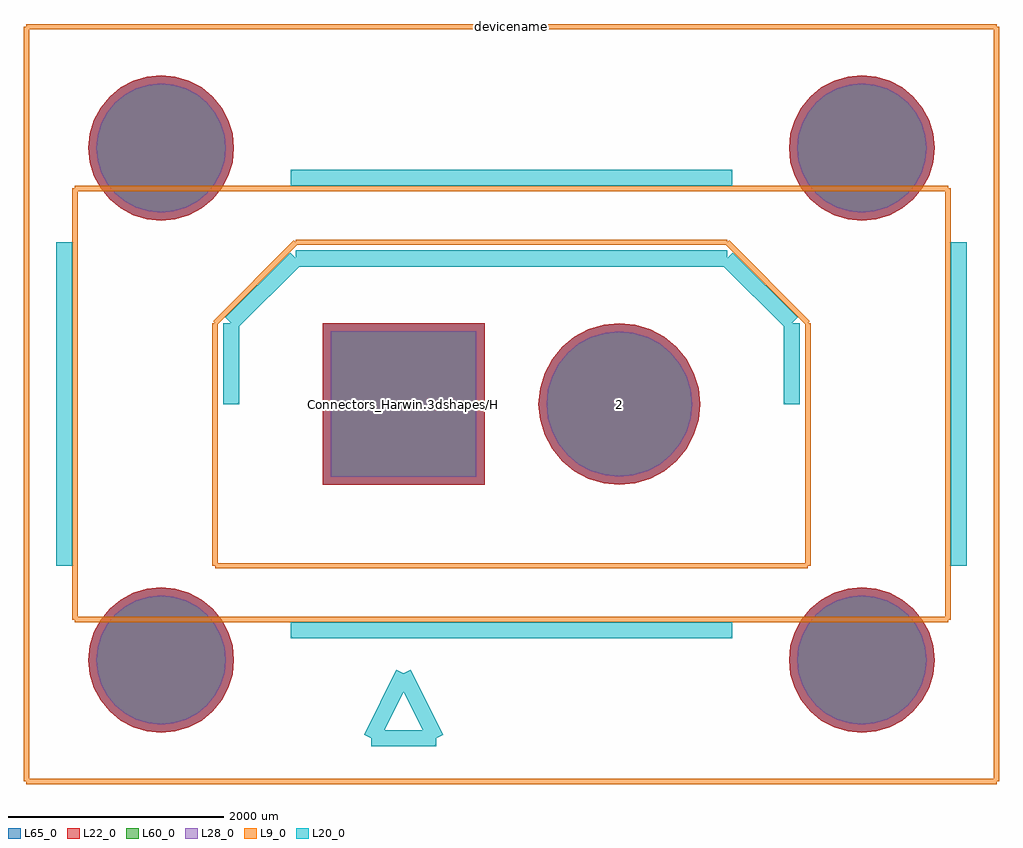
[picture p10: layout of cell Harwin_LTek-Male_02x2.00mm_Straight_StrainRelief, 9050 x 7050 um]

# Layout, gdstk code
import gdstk
lib = gdstk.Library(unit=1e-6, precision=1e-09)
def R(c, l, rs):  # rectangles x0, y0, x1, y1
    for r in rs: c.add(gdstk.rectangle(r[:2], r[2:], *l))
def P(c, l, *ps):  # polygons
    for p in ps: c.add(gdstk.Polygon(p, *l))
L9_0 = (9, 0)
L20_0 = (20, 0)
L22_0 = (22, 0)
L28_0 = (28, 0)
L60_0 = (60, 0)
L65_0 = (65, 0)

harwin_ltek_male_02x2_00 = lib.new_cell('Harwin_LTek-Male_02x2.00mm_Straight_StrainRelief')
R(harwin_ltek_male_02x2_00, L22_0, [(-750,-750,750,750)])
P(harwin_ltek_male_02x2_00, L22_0, [(4925,-2375),(4912.03,-2243.314),(4873.619,-2116.689),(4811.242,-1999.99),(4727.297,-1897.703),(4625.01,-1813.758),(4508.311,-1751.381),(4381.686,-1712.97),(4250,-1700),(4118.314,-1712.97),(3991.689,-1751.381),(3874.99,-1813.758),(3772.703,-1897.703),(3688.758,-1999.99),(3626.381,-2116.689),(3587.97,-2243.314),(3575,-2375),(3587.97,-2506.686),(3626.381,-2633.311),(3688.758,-2750.01),(3772.703,-2852.297),(3874.99,-2936.242),(3991.689,-2998.619),(4118.314,-3037.03),(4250,-3050),(4381.686,-3037.03),(4508.311,-2998.619),(4625.01,-2936.242),(4727.297,-2852.297),(4811.242,-2750.01),(4873.619,-2633.311),(4912.03,-2506.686)],
  [(4925,2375),(4912.03,2506.686),(4873.619,2633.311),(4811.242,2750.01),(4727.297,2852.297),(4625.01,2936.242),(4508.311,2998.619),(4381.686,3037.03),(4250,3050),(4118.314,3037.03),(3991.689,2998.619),(3874.99,2936.242),(3772.703,2852.297),(3688.758,2750.01),(3626.381,2633.311),(3587.97,2506.686),(3575,2375),(3587.97,2243.314),(3626.381,2116.689),(3688.758,1999.99),(3772.703,1897.703),(3874.99,1813.758),(3991.689,1751.381),(4118.314,1712.97),(4250,1700),(4381.686,1712.97),(4508.311,1751.381),(4625.01,1813.758),(4727.297,1897.703),(4811.242,1999.99),(4873.619,2116.689),(4912.03,2243.314)],
  [(-1575,-2375),(-1587.97,-2243.314),(-1626.381,-2116.689),(-1688.758,-1999.99),(-1772.703,-1897.703),(-1874.99,-1813.758),(-1991.689,-1751.381),(-2118.314,-1712.97),(-2250,-1700),(-2381.686,-1712.97),(-2508.311,-1751.381),(-2625.01,-1813.758),(-2727.297,-1897.703),(-2811.242,-1999.99),(-2873.619,-2116.689),(-2912.03,-2243.314),(-2925,-2375),(-2912.03,-2506.686),(-2873.619,-2633.311),(-2811.242,-2750.01),(-2727.297,-2852.297),(-2625.01,-2936.242),(-2508.311,-2998.619),(-2381.686,-3037.03),(-2250,-3050),(-2118.314,-3037.03),(-1991.689,-2998.619),(-1874.99,-2936.242),(-1772.703,-2852.297),(-1688.758,-2750.01),(-1626.381,-2633.311),(-1587.97,-2506.686)],
  [(-1575,2375),(-1587.97,2506.686),(-1626.381,2633.311),(-1688.758,2750.01),(-1772.703,2852.297),(-1874.99,2936.242),(-1991.689,2998.619),(-2118.314,3037.03),(-2250,3050),(-2381.686,3037.03),(-2508.311,2998.619),(-2625.01,2936.242),(-2727.297,2852.297),(-2811.242,2750.01),(-2873.619,2633.311),(-2912.03,2506.686),(-2925,2375),(-2912.03,2243.314),(-2873.619,2116.689),(-2811.242,1999.99),(-2727.297,1897.703),(-2625.01,1813.758),(-2508.311,1751.381),(-2381.686,1712.97),(-2250,1700),(-2118.314,1712.97),(-1991.689,1751.381),(-1874.99,1813.758),(-1772.703,1897.703),(-1688.758,1999.99),(-1626.381,2116.689),(-1587.97,2243.314)],
  [(2750,0),(2735.589,146.318),(2692.91,287.013),(2623.602,416.678),(2530.33,530.33),(2416.678,623.602),(2287.013,692.91),(2146.318,735.589),(2000,750),(1853.682,735.589),(1712.987,692.91),(1583.322,623.602),(1469.67,530.33),(1376.398,416.678),(1307.09,287.013),(1264.411,146.318),(1250,0),(1264.411,-146.318),(1307.09,-287.013),(1376.398,-416.678),(1469.67,-530.33),(1583.322,-623.602),(1712.987,-692.91),(1853.682,-735.589),(2000,-750),(2146.318,-735.589),(2287.013,-692.91),(2416.678,-623.602),(2530.33,-530.33),(2623.602,-416.678),(2692.91,-287.013),(2735.589,-146.318)])
R(harwin_ltek_male_02x2_00, L28_0, [(-675,-675,675,675)])
P(harwin_ltek_male_02x2_00, L28_0, [(4850,-2375),(4838.471,-2257.946),(4804.328,-2145.39),(4748.882,-2041.658),(4674.264,-1950.736),(4583.342,-1876.118),(4479.61,-1820.672),(4367.054,-1786.529),(4250,-1775),(4132.946,-1786.529),(4020.39,-1820.672),(3916.658,-1876.118),(3825.736,-1950.736),(3751.118,-2041.658),(3695.672,-2145.39),(3661.529,-2257.946),(3650,-2375),(3661.529,-2492.054),(3695.672,-2604.61),(3751.118,-2708.342),(3825.736,-2799.264),(3916.658,-2873.882),(4020.39,-2929.328),(4132.946,-2963.471),(4250,-2975),(4367.054,-2963.471),(4479.61,-2929.328),(4583.342,-2873.882),(4674.264,-2799.264),(4748.882,-2708.342),(4804.328,-2604.61),(4838.471,-2492.054)],
  [(4850,2375),(4838.471,2492.054),(4804.328,2604.61),(4748.882,2708.342),(4674.264,2799.264),(4583.342,2873.882),(4479.61,2929.328),(4367.054,2963.471),(4250,2975),(4132.946,2963.471),(4020.39,2929.328),(3916.658,2873.882),(3825.736,2799.264),(3751.118,2708.342),(3695.672,2604.61),(3661.529,2492.054),(3650,2375),(3661.529,2257.946),(3695.672,2145.39),(3751.118,2041.658),(3825.736,1950.736),(3916.658,1876.118),(4020.39,1820.672),(4132.946,1786.529),(4250,1775),(4367.054,1786.529),(4479.61,1820.672),(4583.342,1876.118),(4674.264,1950.736),(4748.882,2041.658),(4804.328,2145.39),(4838.471,2257.946)],
  [(-1650,-2375),(-1661.529,-2257.946),(-1695.672,-2145.39),(-1751.118,-2041.658),(-1825.736,-1950.736),(-1916.658,-1876.118),(-2020.39,-1820.672),(-2132.946,-1786.529),(-2250,-1775),(-2367.054,-1786.529),(-2479.61,-1820.672),(-2583.342,-1876.118),(-2674.264,-1950.736),(-2748.882,-2041.658),(-2804.328,-2145.39),(-2838.471,-2257.946),(-2850,-2375),(-2838.471,-2492.054),(-2804.328,-2604.61),(-2748.882,-2708.342),(-2674.264,-2799.264),(-2583.342,-2873.882),(-2479.61,-2929.328),(-2367.054,-2963.471),(-2250,-2975),(-2132.946,-2963.471),(-2020.39,-2929.328),(-1916.658,-2873.882),(-1825.736,-2799.264),(-1751.118,-2708.342),(-1695.672,-2604.61),(-1661.529,-2492.054)],
  [(-1650,2375),(-1661.529,2492.054),(-1695.672,2604.61),(-1751.118,2708.342),(-1825.736,2799.264),(-1916.658,2873.882),(-2020.39,2929.328),(-2132.946,2963.471),(-2250,2975),(-2367.054,2963.471),(-2479.61,2929.328),(-2583.342,2873.882),(-2674.264,2799.264),(-2748.882,2708.342),(-2804.328,2604.61),(-2838.471,2492.054),(-2850,2375),(-2838.471,2257.946),(-2804.328,2145.39),(-2748.882,2041.658),(-2674.264,1950.736),(-2583.342,1876.118),(-2479.61,1820.672),(-2367.054,1786.529),(-2250,1775),(-2132.946,1786.529),(-2020.39,1820.672),(-1916.658,1876.118),(-1825.736,1950.736),(-1751.118,2041.658),(-1695.672,2145.39),(-1661.529,2257.946)],
  [(2675,0),(2662.03,131.686),(2623.619,258.311),(2561.242,375.01),(2477.297,477.297),(2375.01,561.242),(2258.311,623.619),(2131.686,662.03),(2000,675),(1868.314,662.03),(1741.689,623.619),(1624.99,561.242),(1522.703,477.297),(1438.758,375.01),(1376.381,258.311),(1337.97,131.686),(1325,0),(1337.97,-131.686),(1376.381,-258.311),(1438.758,-375.01),(1522.703,-477.297),(1624.99,-561.242),(1741.689,-623.619),(1868.314,-662.03),(2000,-675),(2131.686,-662.03),(2258.311,-623.619),(2375.01,-561.242),(2477.297,-477.297),(2561.242,-375.01),(2623.619,-258.311),(2662.03,-131.686)])
R(harwin_ltek_male_02x2_00, L60_0, [(-675,-675,675,675)])
P(harwin_ltek_male_02x2_00, L60_0, [(4850,-2375),(4838.471,-2257.946),(4804.328,-2145.39),(4748.882,-2041.658),(4674.264,-1950.736),(4583.342,-1876.118),(4479.61,-1820.672),(4367.054,-1786.529),(4250,-1775),(4132.946,-1786.529),(4020.39,-1820.672),(3916.658,-1876.118),(3825.736,-1950.736),(3751.118,-2041.658),(3695.672,-2145.39),(3661.529,-2257.946),(3650,-2375),(3661.529,-2492.054),(3695.672,-2604.61),(3751.118,-2708.342),(3825.736,-2799.264),(3916.658,-2873.882),(4020.39,-2929.328),(4132.946,-2963.471),(4250,-2975),(4367.054,-2963.471),(4479.61,-2929.328),(4583.342,-2873.882),(4674.264,-2799.264),(4748.882,-2708.342),(4804.328,-2604.61),(4838.471,-2492.054)],
  [(4850,2375),(4838.471,2492.054),(4804.328,2604.61),(4748.882,2708.342),(4674.264,2799.264),(4583.342,2873.882),(4479.61,2929.328),(4367.054,2963.471),(4250,2975),(4132.946,2963.471),(4020.39,2929.328),(3916.658,2873.882),(3825.736,2799.264),(3751.118,2708.342),(3695.672,2604.61),(3661.529,2492.054),(3650,2375),(3661.529,2257.946),(3695.672,2145.39),(3751.118,2041.658),(3825.736,1950.736),(3916.658,1876.118),(4020.39,1820.672),(4132.946,1786.529),(4250,1775),(4367.054,1786.529),(4479.61,1820.672),(4583.342,1876.118),(4674.264,1950.736),(4748.882,2041.658),(4804.328,2145.39),(4838.471,2257.946)],
  [(-1650,-2375),(-1661.529,-2257.946),(-1695.672,-2145.39),(-1751.118,-2041.658),(-1825.736,-1950.736),(-1916.658,-1876.118),(-2020.39,-1820.672),(-2132.946,-1786.529),(-2250,-1775),(-2367.054,-1786.529),(-2479.61,-1820.672),(-2583.342,-1876.118),(-2674.264,-1950.736),(-2748.882,-2041.658),(-2804.328,-2145.39),(-2838.471,-2257.946),(-2850,-2375),(-2838.471,-2492.054),(-2804.328,-2604.61),(-2748.882,-2708.342),(-2674.264,-2799.264),(-2583.342,-2873.882),(-2479.61,-2929.328),(-2367.054,-2963.471),(-2250,-2975),(-2132.946,-2963.471),(-2020.39,-2929.328),(-1916.658,-2873.882),(-1825.736,-2799.264),(-1751.118,-2708.342),(-1695.672,-2604.61),(-1661.529,-2492.054)],
  [(-1650,2375),(-1661.529,2492.054),(-1695.672,2604.61),(-1751.118,2708.342),(-1825.736,2799.264),(-1916.658,2873.882),(-2020.39,2929.328),(-2132.946,2963.471),(-2250,2975),(-2367.054,2963.471),(-2479.61,2929.328),(-2583.342,2873.882),(-2674.264,2799.264),(-2748.882,2708.342),(-2804.328,2604.61),(-2838.471,2492.054),(-2850,2375),(-2838.471,2257.946),(-2804.328,2145.39),(-2748.882,2041.658),(-2674.264,1950.736),(-2583.342,1876.118),(-2479.61,1820.672),(-2367.054,1786.529),(-2250,1775),(-2132.946,1786.529),(-2020.39,1820.672),(-1916.658,1876.118),(-1825.736,1950.736),(-1751.118,2041.658),(-1695.672,2145.39),(-1661.529,2257.946)],
  [(2675,0),(2662.03,131.686),(2623.619,258.311),(2561.242,375.01),(2477.297,477.297),(2375.01,561.242),(2258.311,623.619),(2131.686,662.03),(2000,675),(1868.314,662.03),(1741.689,623.619),(1624.99,561.242),(1522.703,477.297),(1438.758,375.01),(1376.381,258.311),(1337.97,131.686),(1325,0),(1337.97,-131.686),(1376.381,-258.311),(1438.758,-375.01),(1522.703,-477.297),(1624.99,-561.242),(1741.689,-623.619),(1868.314,-662.03),(2000,-675),(2131.686,-662.03),(2258.311,-623.619),(2375.01,-561.242),(2477.297,-477.297),(2561.242,-375.01),(2623.619,-258.311),(2662.03,-131.686)])
R(harwin_ltek_male_02x2_00, L65_0, [(-750,-750,750,750)])
P(harwin_ltek_male_02x2_00, L65_0, [(4925,-2375),(4912.03,-2243.314),(4873.619,-2116.689),(4811.242,-1999.99),(4727.297,-1897.703),(4625.01,-1813.758),(4508.311,-1751.381),(4381.686,-1712.97),(4250,-1700),(4118.314,-1712.97),(3991.689,-1751.381),(3874.99,-1813.758),(3772.703,-1897.703),(3688.758,-1999.99),(3626.381,-2116.689),(3587.97,-2243.314),(3575,-2375),(3587.97,-2506.686),(3626.381,-2633.311),(3688.758,-2750.01),(3772.703,-2852.297),(3874.99,-2936.242),(3991.689,-2998.619),(4118.314,-3037.03),(4250,-3050),(4381.686,-3037.03),(4508.311,-2998.619),(4625.01,-2936.242),(4727.297,-2852.297),(4811.242,-2750.01),(4873.619,-2633.311),(4912.03,-2506.686)],
  [(4925,2375),(4912.03,2506.686),(4873.619,2633.311),(4811.242,2750.01),(4727.297,2852.297),(4625.01,2936.242),(4508.311,2998.619),(4381.686,3037.03),(4250,3050),(4118.314,3037.03),(3991.689,2998.619),(3874.99,2936.242),(3772.703,2852.297),(3688.758,2750.01),(3626.381,2633.311),(3587.97,2506.686),(3575,2375),(3587.97,2243.314),(3626.381,2116.689),(3688.758,1999.99),(3772.703,1897.703),(3874.99,1813.758),(3991.689,1751.381),(4118.314,1712.97),(4250,1700),(4381.686,1712.97),(4508.311,1751.381),(4625.01,1813.758),(4727.297,1897.703),(4811.242,1999.99),(4873.619,2116.689),(4912.03,2243.314)],
  [(-1575,-2375),(-1587.97,-2243.314),(-1626.381,-2116.689),(-1688.758,-1999.99),(-1772.703,-1897.703),(-1874.99,-1813.758),(-1991.689,-1751.381),(-2118.314,-1712.97),(-2250,-1700),(-2381.686,-1712.97),(-2508.311,-1751.381),(-2625.01,-1813.758),(-2727.297,-1897.703),(-2811.242,-1999.99),(-2873.619,-2116.689),(-2912.03,-2243.314),(-2925,-2375),(-2912.03,-2506.686),(-2873.619,-2633.311),(-2811.242,-2750.01),(-2727.297,-2852.297),(-2625.01,-2936.242),(-2508.311,-2998.619),(-2381.686,-3037.03),(-2250,-3050),(-2118.314,-3037.03),(-1991.689,-2998.619),(-1874.99,-2936.242),(-1772.703,-2852.297),(-1688.758,-2750.01),(-1626.381,-2633.311),(-1587.97,-2506.686)],
  [(-1575,2375),(-1587.97,2506.686),(-1626.381,2633.311),(-1688.758,2750.01),(-1772.703,2852.297),(-1874.99,2936.242),(-1991.689,2998.619),(-2118.314,3037.03),(-2250,3050),(-2381.686,3037.03),(-2508.311,2998.619),(-2625.01,2936.242),(-2727.297,2852.297),(-2811.242,2750.01),(-2873.619,2633.311),(-2912.03,2506.686),(-2925,2375),(-2912.03,2243.314),(-2873.619,2116.689),(-2811.242,1999.99),(-2727.297,1897.703),(-2625.01,1813.758),(-2508.311,1751.381),(-2381.686,1712.97),(-2250,1700),(-2118.314,1712.97),(-1991.689,1751.381),(-1874.99,1813.758),(-1772.703,1897.703),(-1688.758,1999.99),(-1626.381,2116.689),(-1587.97,2243.314)],
  [(2750,0),(2735.589,146.318),(2692.91,287.013),(2623.602,416.678),(2530.33,530.33),(2416.678,623.602),(2287.013,692.91),(2146.318,735.589),(2000,750),(1853.682,735.589),(1712.987,692.91),(1583.322,623.602),(1469.67,530.33),(1376.398,416.678),(1307.09,287.013),(1264.411,146.318),(1250,0),(1264.411,-146.318),(1307.09,-287.013),(1376.398,-416.678),(1469.67,-530.33),(1583.322,-623.602),(1712.987,-692.91),(1853.682,-735.589),(2000,-750),(2146.318,-735.589),(2287.013,-692.91),(2416.678,-623.602),(2530.33,-530.33),(2623.602,-416.678),(2692.91,-287.013),(2735.589,-146.318)])
harwin_ltek_male_02x2_00.add(gdstk.FlexPath([(300,-3100),(0,-2500)], 149.998, ends="flush", simple_path=True, layer=20, datatype=0))  # L20_0
harwin_ltek_male_02x2_00.add(gdstk.FlexPath([(-300,-3100),(300,-3100)], 149.998, ends="flush", simple_path=True, layer=20, datatype=0))  # L20_0
harwin_ltek_male_02x2_00.add(gdstk.FlexPath([(0,-2500),(-300,-3100)], 149.998, ends="flush", simple_path=True, layer=20, datatype=0))  # L20_0
harwin_ltek_male_02x2_00.add(gdstk.FlexPath([(3000,1350),(1000,1350)], 149.998, ends="flush", simple_path=True, layer=20, datatype=0))  # L20_0
harwin_ltek_male_02x2_00.add(gdstk.FlexPath([(3600,750),(3000,1350)], 149.998, ends="flush", simple_path=True, layer=20, datatype=0))  # L20_0
harwin_ltek_male_02x2_00.add(gdstk.FlexPath([(3600,0),(3600,750)], 149.998, ends="flush", simple_path=True, layer=20, datatype=0))  # L20_0
harwin_ltek_male_02x2_00.add(gdstk.FlexPath([(-1000,1350),(1000,1350)], 149.998, ends="flush", simple_path=True, layer=20, datatype=0))  # L20_0
harwin_ltek_male_02x2_00.add(gdstk.FlexPath([(-1600,750),(-1000,1350)], 149.998, ends="flush", simple_path=True, layer=20, datatype=0))  # L20_0
harwin_ltek_male_02x2_00.add(gdstk.FlexPath([(-1600,0),(-1600,750)], 149.998, ends="flush", simple_path=True, layer=20, datatype=0))  # L20_0
harwin_ltek_male_02x2_00.add(gdstk.FlexPath([(3750,-1500),(-1750,-1500)], 50, ends="flush", simple_path=True, layer=9, datatype=0))  # L9_0
harwin_ltek_male_02x2_00.add(gdstk.FlexPath([(3750,750),(3750,-1500)], 50, ends="flush", simple_path=True, layer=9, datatype=0))  # L9_0
harwin_ltek_male_02x2_00.add(gdstk.FlexPath([(3000,1500),(3750,750)], 50, ends="flush", simple_path=True, layer=9, datatype=0))  # L9_0
harwin_ltek_male_02x2_00.add(gdstk.FlexPath([(-1000,1500),(3000,1500)], 50, ends="flush", simple_path=True, layer=9, datatype=0))  # L9_0
harwin_ltek_male_02x2_00.add(gdstk.FlexPath([(-1750,750),(-1000,1500)], 50, ends="flush", simple_path=True, layer=9, datatype=0))  # L9_0
harwin_ltek_male_02x2_00.add(gdstk.FlexPath([(-1750,-1500),(-1750,750)], 50, ends="flush", simple_path=True, layer=9, datatype=0))  # L9_0
harwin_ltek_male_02x2_00.add(gdstk.FlexPath([(5050,2000),(-3050,2000)], 50, ends="flush", simple_path=True, layer=9, datatype=0))  # L9_0
harwin_ltek_male_02x2_00.add(gdstk.FlexPath([(5050,-2000),(5050,2000)], 50, ends="flush", simple_path=True, layer=9, datatype=0))  # L9_0
harwin_ltek_male_02x2_00.add(gdstk.FlexPath([(-3050,-2000),(5050,-2000)], 50, ends="flush", simple_path=True, layer=9, datatype=0))  # L9_0
harwin_ltek_male_02x2_00.add(gdstk.FlexPath([(-3050,2000),(-3050,-2000)], 50, ends="flush", simple_path=True, layer=9, datatype=0))  # L9_0
harwin_ltek_male_02x2_00.add(gdstk.FlexPath([(5500,3500),(-3500,3500)], 50, ends="flush", simple_path=True, layer=9, datatype=0))  # L9_0
harwin_ltek_male_02x2_00.add(gdstk.FlexPath([(5500,-3500),(5500,3500)], 50, ends="flush", simple_path=True, layer=9, datatype=0))  # L9_0
harwin_ltek_male_02x2_00.add(gdstk.FlexPath([(-3500,-3500),(5500,-3500)], 50, ends="flush", simple_path=True, layer=9, datatype=0))  # L9_0
harwin_ltek_male_02x2_00.add(gdstk.FlexPath([(-3500,3500),(-3500,-3500)], 50, ends="flush", simple_path=True, layer=9, datatype=0))  # L9_0
harwin_ltek_male_02x2_00.add(gdstk.FlexPath([(5150,1500),(5150,-1500)], 149.998, ends="flush", simple_path=True, layer=20, datatype=0))  # L20_0
harwin_ltek_male_02x2_00.add(gdstk.FlexPath([(-3150,1500),(-3150,-1500)], 149.998, ends="flush", simple_path=True, layer=20, datatype=0))  # L20_0
harwin_ltek_male_02x2_00.add(gdstk.FlexPath([(-1050,-2100),(3050,-2100)], 149.998, ends="flush", simple_path=True, layer=20, datatype=0))  # L20_0
harwin_ltek_male_02x2_00.add(gdstk.FlexPath([(-1050,2100),(3050,2100)], 149.998, ends="flush", simple_path=True, layer=20, datatype=0))  # L20_0
harwin_ltek_male_02x2_00.add(gdstk.Label('Connectors_Harwin.3dshapes/Harwin_LTek-Male_02x2.00mm_Straight_StrainRelief.wrl', (0,0), layer=12, texttype=0))
harwin_ltek_male_02x2_00.add(gdstk.Label('2', (2000,0), layer=28, texttype=0))
harwin_ltek_male_02x2_00.add(gdstk.Label('1', (0,0), layer=28, texttype=0))
harwin_ltek_male_02x2_00.add(gdstk.Label('type', (1000,-4000), layer=9, texttype=0))
harwin_ltek_male_02x2_00.add(gdstk.Label('devicename', (1000,3500), layer=9, texttype=0))

lib.write_gds('Harwin_LTek-Male_02x2.00mm_Straight_StrainRelief.gds')
